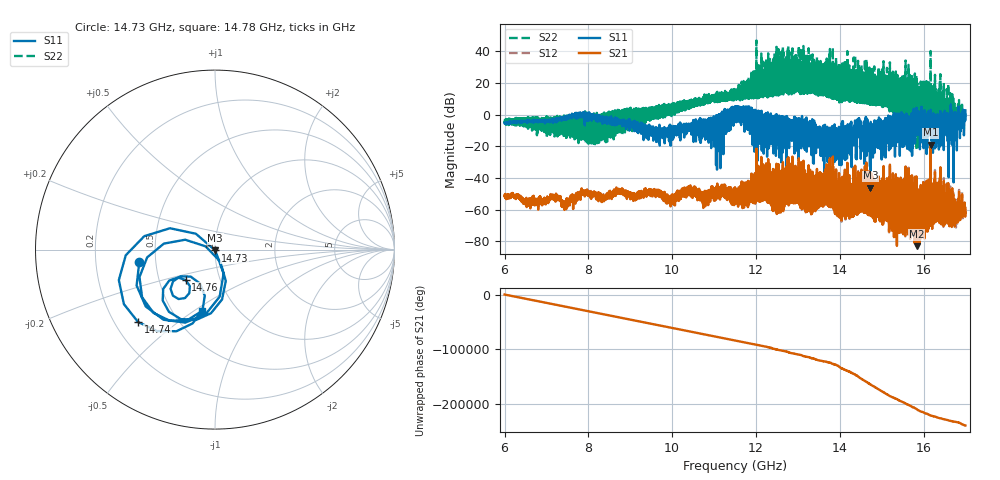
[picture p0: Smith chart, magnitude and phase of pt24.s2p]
#  HZ  S  RI  R  50.00
! Rohde & Schwarz Vector Network Analyzer
! Rohde-Schwarz,ZNA67-2Port,1332450062101215,3.01
! Created: UTC 10/15/2026, 3:01:29 PM
! freq[Hz]  re:S11  im:S11  re:S21  im:S21  re:S12  im:S12  re:S22  im:S22
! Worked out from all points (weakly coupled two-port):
!   11001 points, 6 GHz to 17 GHz, reference 50 ohm
!   highest |S21| = -19.03 dB at 16.17 GHz (marker M1); lowest = -83.0 dB at 15.83 GHz (marker M2)
!   lowest |S11| = -46.2 dB at 14.73 GHz (marker M3), VSWR 1.01, Z = 50.1 - j0.469 ohm
!   |S11| at or under -10 dB: 13.65205 GHz to 13.70162 GHz (49.57 MHz wide, 0.362 % of centre); 13.72005 GHz to 13.76947 GHz (49.42 MHz wide, 0.36 % of centre); 14.08075 GHz to 14.12744 GHz (46.69 MHz wide, 0.331 % of centre) (the widest 3 of 480)
!   |S22| runs from -22.4 to 46.8 dB; largest |S21 - S12| = 0.066
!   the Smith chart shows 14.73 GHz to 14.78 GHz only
!   S11 on the Smith chart (normalised r, x): 14.73 GHz: 0.40, -0.07; 14.73 GHz: 1.00, -0.01; 14.74 GHz: 0.30, -0.37; 14.76 GHz: 0.68, -0.24; 14.78 GHz: 0.69, -0.54
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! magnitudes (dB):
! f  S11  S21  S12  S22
! 6 GHz  -5.3  -51.5  -51.5  -4.2
! 7.419 GHz  -2.5  -55.6  -55.3  -0.6
! 7.834 GHz  -0.4  -49.5  -49.4  -15.8
! 9.667 GHz  -10.6  -51.0  -51.1  -1.9
! 11.05 GHz  -0.4  -46.4  -46.4  11.5
! 11.5 GHz  4.8  -52.6  -52.6  10.3
! 12.19 GHz  -4.8  -50.8  -50.5  12.9
! 12.52 GHz  -3.8  -56.8  -56.4  16.0
! 12.83 GHz  -14.8  -54.9  -55.2  14.6
! 13.33 GHz  -6.6  -59.1  -59.2  17.5
! 13.66 GHz  -12.6  -54.6  -54.9  12.2
! 14.04 GHz  -16.4  -54.6  -55.2  19.3
! 14.73 GHz  -7.4  -60.9  -60.7  6.3
! 14.73 GHz  -46.2  -60.0  -60.5  11.9
! 14.74 GHz  -4.6  -53.0  -53.0  14.8
! 14.76 GHz  -12.6  -60.3  -60.4  10.4
! 14.78 GHz  -9.1  -51.8  -52.3  17.6
! 15.17 GHz  -9.3  -61.4  -61.7  6.6
! 15.83 GHz  4.5  -83.0  -81.8  -22.4
! 16.17 GHz  -4.1  -19.0  -19.0  40.1
! 16.57 GHz  0.7  -67.6  -66.5  -5.8
! 17 GHz  2.7  -58.9  -58.8  0.8
